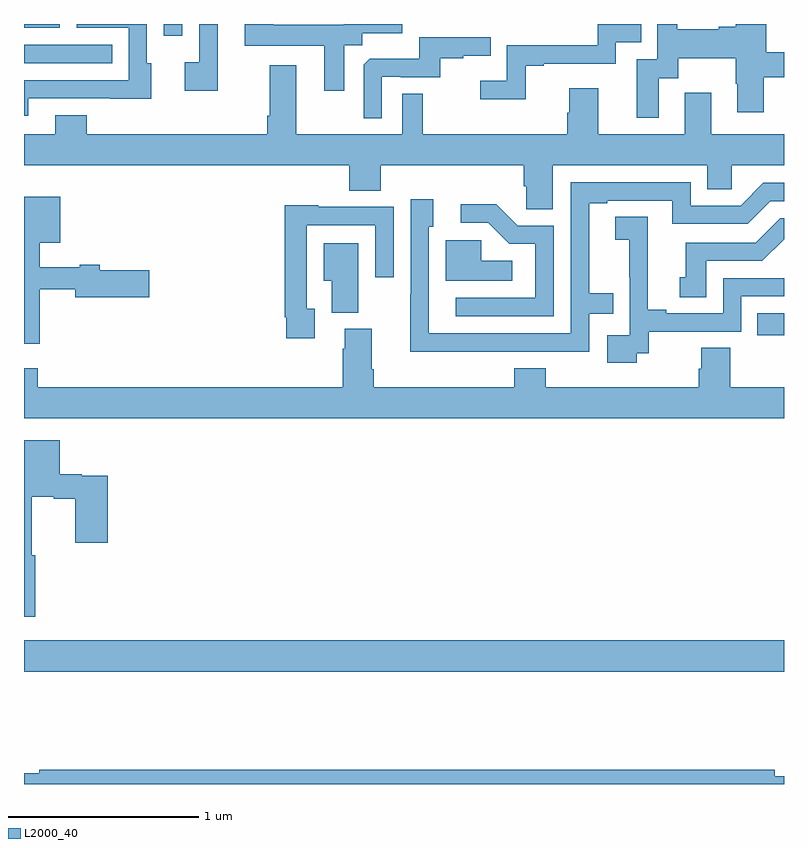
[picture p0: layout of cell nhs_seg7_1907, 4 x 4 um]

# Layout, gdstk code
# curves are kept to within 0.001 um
import gdstk
lib = gdstk.Library(unit=1e-6, precision=1e-09)
def R(c, l, rs):  # rectangles x0, y0, x1, y1
    for r in rs: c.add(gdstk.rectangle(r[:2], r[2:], *l))
def P(c, l, *ps):  # polygons
    for p in ps: c.add(gdstk.Polygon(p, *l))
L2000_40 = (2000, 40)

nhs_seg7_1907 = lib.new_cell('nhs_seg7_1907')
R(nhs_seg7_1907, L2000_40, [(239,1024.592,243,1024.756), (242.86,1026.362,243,1026.477), (239,1027.794,239.465,1027.89), (239.736,1027.938,239.832,1028), (239,1027.979,239.188,1028)])
P(nhs_seg7_1907, L2000_40, [(240.685,1027.888),(240.78,1027.888),(240.78,1027.952),(240.991,1027.952),(240.991,1028),(240.684,1028),(240.684,1027.996),(240.313,1027.996),(240.313,1028),(240.161,1028),(240.161,1027.886),(240.581,1027.886),(240.581,1027.65),(240.685,1027.65)],
  [(239.023,1027.608),(239.453,1027.608),(239.453,1027.607),(239.671,1027.607),(239.671,1027.794),(239.646,1027.794),(239.646,1028),(239.277,1028),(239.277,1027.98),(239.55,1027.98),(239.55,1027.704),(239,1027.704),(239,1027.518),(239.023,1027.518)],
  [(240.019,1028),(239.922,1028),(239.922,1027.798),(239.847,1027.798),(239.847,1027.65),(240.019,1027.65)],
  [(242.341,1027.714),(242.443,1027.714),(242.443,1027.82),(242.746,1027.82),(242.746,1027.686),(242.753,1027.686),(242.753,1027.536),(242.893,1027.536),(242.893,1027.721),(243,1027.721),(243,1027.851),(242.906,1027.851),(242.906,1028),(242.746,1028),(242.746,1027.985),(242.657,1027.985),(242.657,1027.972),(242.439,1027.972),(242.439,1028),(242.334,1028),(242.334,1027.815),(242.225,1027.815),(242.225,1027.506),(242.341,1027.506)],
  [(241.641,1027.779),(241.735,1027.779),(241.735,1027.791),(242.115,1027.791),(242.115,1027.905),(242.249,1027.905),(242.249,1028),(242.019,1028),(242.019,1027.887),(241.542,1027.887),(241.542,1027.702),(241.401,1027.702),(241.401,1027.603),(241.641,1027.603)],
  [(240.882,1027.722),(240.982,1027.722),(240.982,1027.719),(241.19,1027.719),(241.19,1027.821),(241.313,1027.821),(241.313,1027.832),(241.457,1027.832),(241.457,1027.929),(241.08,1027.929),(241.08,1027.817),(240.821,1027.817),(240.789,1027.785),(240.789,1027.505),(240.882,1027.505)],
  [(241.783,1027.256),(242.597,1027.256),(242.597,1027.129),(242.724,1027.129),(242.724,1027.256),(243,1027.256),(243,1027.42),(242.617,1027.42),(242.617,1027.639),(242.477,1027.639),(242.477,1027.42),(242.023,1027.42),(242.023,1027.663),(241.871,1027.663),(241.871,1027.533),(241.859,1027.533),(241.859,1027.42),(241.099,1027.42),(241.099,1027.634),(240.99,1027.634),(240.99,1027.42),(240.433,1027.42),(240.433,1027.783),(240.293,1027.783),(240.293,1027.516),(240.281,1027.516),(240.281,1027.42),(239.329,1027.42),(239.329,1027.519),(239.165,1027.519),(239.165,1027.42),(239,1027.42),(239,1027.256),(240.713,1027.256),(240.713,1027.123),(240.878,1027.123),(240.878,1027.256),(241.631,1027.256),(241.631,1027.147),(241.644,1027.147),(241.644,1027.024),(241.783,1027.024)],
  [(241.496,1026.276),(241.974,1026.276),(241.974,1026.474),(242.102,1026.474),(242.102,1026.583),(241.975,1026.583),(241.975,1027.056),(242.071,1027.056),(242.071,1027.071),(242.412,1027.071),(242.412,1026.948),(242.808,1026.948),(242.928,1027.068),(243,1027.068),(243,1027.164),(242.892,1027.164),(242.772,1027.044),(242.508,1027.044),(242.508,1027.167),(241.878,1027.167),(241.878,1026.372),(241.131,1026.372),(241.131,1026.933),(241.153,1026.933),(241.153,1027.078),(241.035,1027.078),(241.034,1026.275)],
  [(239.084,1026.604),(239.27,1026.604),(239.27,1026.562),(239.659,1026.562),(239.659,1026.704),(239.398,1026.704),(239.398,1026.733),(239.294,1026.733),(239.294,1026.72),(239.084,1026.72),(239.084,1026.848),(239.191,1026.848),(239.191,1027.09),(239,1027.09),(239,1026.317),(239.084,1026.317)],
  [(241.788,1026.939),(241.599,1026.939),(241.486,1027.052),(241.299,1027.052),(241.299,1026.954),(241.443,1026.954),(241.554,1026.843),(241.692,1026.843),(241.692,1026.558),(241.272,1026.558),(241.272,1026.462),(241.788,1026.462)],
  [(240.529,1026.501),(240.489,1026.501),(240.489,1026.942),(240.849,1026.942),(240.849,1026.666),(240.945,1026.666),(240.945,1027.038),(240.549,1027.038),(240.549,1027.045),(240.373,1027.045),(240.373,1026.457),(240.381,1026.457),(240.381,1026.345),(240.529,1026.345)],
  [(242.226,1026.267),(242.288,1026.267),(242.288,1026.381),(242.775,1026.381),(242.775,1026.567),(243,1026.567),(243,1026.663),(242.679,1026.663),(242.679,1026.477),(242.38,1026.477),(242.38,1026.497),(242.284,1026.497),(242.284,1026.875),(242.282,1026.875),(242.282,1026.986),(242.112,1026.986),(242.112,1026.865),(242.186,1026.865),(242.186,1026.667),(242.187,1026.667),(242.187,1026.363),(242.07,1026.363),(242.07,1026.216),(242.226,1026.216)],
  [(242.59,1026.753),(242.886,1026.753),(243,1026.867),(243,1026.978),(242.979,1026.978),(242.85,1026.849),(242.483,1026.849),(242.483,1026.666),(242.45,1026.666),(242.45,1026.562),(242.59,1026.562)],
  [(241.57,1026.754),(241.407,1026.754),(241.407,1026.861),(241.22,1026.861),(241.22,1026.65),(241.57,1026.65)],
  [(240.76,1026.847),(240.578,1026.847),(240.578,1026.65),(240.62,1026.65),(240.62,1026.481),(240.76,1026.481)],
  [(243,1026.088),(242.717,1026.088),(242.717,1026.296),(242.564,1026.296),(242.564,1026.186),(242.552,1026.186),(242.552,1026.088),(241.745,1026.088),(241.745,1026.187),(241.58,1026.187),(241.58,1026.088),(240.842,1026.088),(240.842,1026.184),(240.829,1026.184),(240.829,1026.396),(240.689,1026.396),(240.689,1026.29),(240.677,1026.29),(240.677,1026.088),(239.072,1026.088),(239.072,1026.187),(239,1026.187),(239,1025.924),(243,1025.924)],
  [(239.059,1025.205),(239.041,1025.205),(239.041,1025.513),(239.156,1025.513),(239.156,1025.501),(239.27,1025.501),(239.27,1025.271),(239.441,1025.271),(239.441,1025.623),(239.304,1025.623),(239.304,1025.631),(239.188,1025.631),(239.188,1025.809),(239,1025.809),(239,1024.881),(239.059,1024.881)],
  [(243,1024.04),(242.95,1024.04),(242.95,1024.076),(239.08,1024.076),(239.08,1024.056),(239,1024.056),(239,1024),(243,1024)])

lib.write_gds('nhs_seg7_1907.gds')
